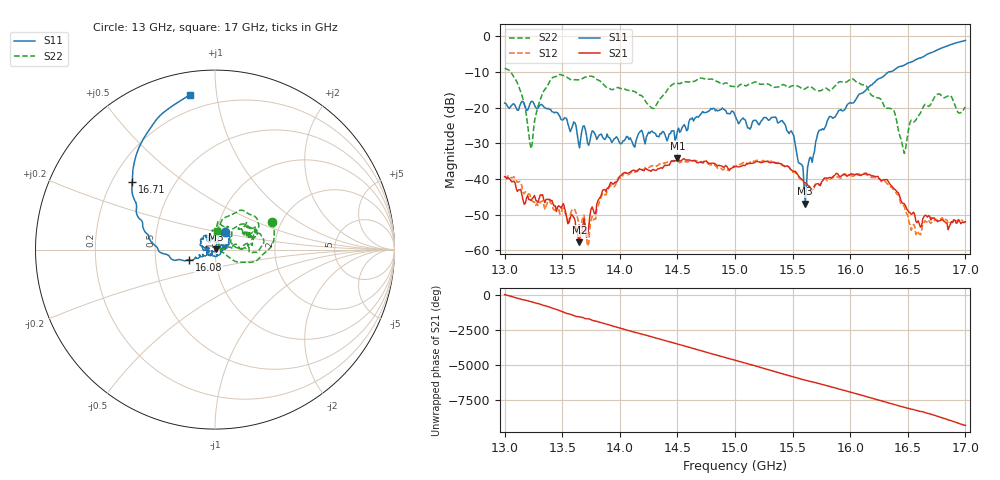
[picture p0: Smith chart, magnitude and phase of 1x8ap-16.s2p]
!Keysight Technologies,P9374A,MY57211807,A.19.30.04
!Date: Friday, May 08, 2026 15:40:23
!Correction: S11(C  2-Port  )
!S21(C  2-Port  )
!S12(C  2-Port  )
!S22(C  2-Port  )
!S2P File: Measurements: S11, S21, S12, S22:
# Hz S  dB  R 50
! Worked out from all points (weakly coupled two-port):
!   401 points, 13 GHz to 17 GHz, reference 50 ohm
!   highest |S21| = -34.25 dB at 14.5 GHz (marker M1); lowest = -57.7 dB at 13.65 GHz (marker M2)
!   lowest |S11| = -46.9 dB at 15.61 GHz (marker M3), VSWR 1.01, Z = 50.4 + j0.226 ohm
!   |S11| at or under -10 dB: start of sweep to 16.34 GHz
!   |S22| runs from -32.8 to -9.0 dB; largest |S21 - S12| = 0.0045
!   S11 on the Smith chart (normalised r, x): 13 GHz: 1.10, +0.22; 16.08 GHz: 0.74, -0.09; 16.71 GHz: 0.28, +0.33; 17 GHz: 0.12, +0.84
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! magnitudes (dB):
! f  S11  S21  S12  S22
! 13 GHz  -18.7  -39.3  -39.4  -9.0
! 13.13 GHz  -19.7  -43.0  -40.7  -14.7
! 13.23 GHz  -18.3  -46.1  -45.7  -31.5
! 13.4 GHz  -20.6  -46.1  -46.9  -12.2
! 13.65 GHz  -31.3  -57.7  -53.3  -12.2
! 13.67 GHz  -26.7  -55.1  -52.0  -11.9
! 13.72 GHz  -29.9  -55.8  -58.8  -11.4
! 13.84 GHz  -27.4  -44.4  -44.9  -12.9
! 14.02 GHz  -29.8  -38.7  -39.5  -14.6
! 14.34 GHz  -28.2  -37.1  -35.9  -17.9
! 14.5 GHz  -26.6  -34.3  -34.9  -13.1
! 15 GHz  -22.2  -36.5  -36.6  -14.2
! 15.42 GHz  -24.2  -36.2  -36.3  -13.6
! 15.61 GHz  -46.9  -41.1  -41.7  -14.7
! 15.67 GHz  -35.3  -43.3  -43.3  -14.4
! 15.82 GHz  -22.5  -39.6  -40.2  -15.2
! 16.08 GHz  -16.2  -38.9  -38.6  -13.2
! 16.34 GHz  -10.0  -41.2  -42.0  -20.2
! 16.47 GHz  -8.1  -47.0  -47.8  -32.8
! 16.59 GHz  -6.2  -51.7  -55.1  -22.5
! 16.71 GHz  -4.5  -50.8  -52.0  -18.4
! 17 GHz  -1.2  -52.0  -52.1  -19.8
